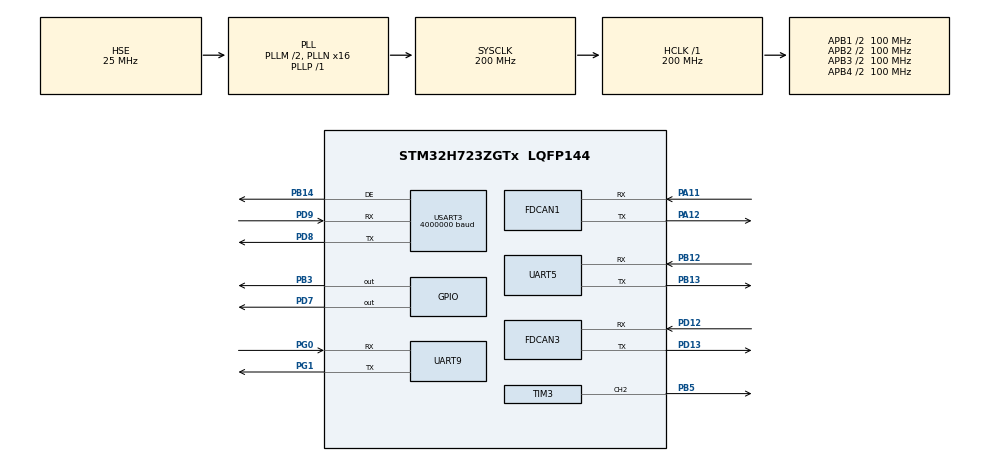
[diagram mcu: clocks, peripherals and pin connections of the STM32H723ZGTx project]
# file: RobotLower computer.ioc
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CORTEX_M7.default_mode_Activation=1
Dma.Request0=USART3_RX
Dma.Request1=USART3_TX
Dma.Request2=UART9_RX
Dma.Request3=UART9_TX
Dma.Request4=UART5_RX
Dma.Request5=UART5_TX
Dma.UART5_RX.4.Direction=DMA_PERIPH_TO_MEMORY
Dma.UART5_RX.4.EventEnable=DISABLE
Dma.UART5_RX.4.FIFOMode=DMA_FIFOMODE_DISABLE
Dma.UART5_RX.4.Instance=DMA1_Stream4
Dma.UART5_RX.4.MemDataAlignment=DMA_MDATAALIGN_BYTE
Dma.UART5_RX.4.MemInc=DMA_MINC_ENABLE
Dma.UART5_RX.4.Mode=DMA_NORMAL
Dma.UART5_RX.4.PeriphDataAlignment=DMA_PDATAALIGN_BYTE
Dma.UART5_RX.4.PeriphInc=DMA_PINC_DISABLE
Dma.UART5_RX.4.Polarity=HAL_DMAMUX_REQ_GEN_RISING
Dma.UART5_RX.4.Priority=DMA_PRIORITY_LOW
Dma.UART5_RX.4.RequestNumber=1
Dma.UART5_RX.4.SignalID=NONE
Dma.UART5_RX.4.SyncEnable=DISABLE
Dma.UART5_RX.4.SyncPolarity=HAL_DMAMUX_SYNC_NO_EVENT
Dma.UART5_RX.4.SyncRequestNumber=1
Dma.UART5_RX.4.SyncSignalID=NONE
Dma.UART5_TX.5.Direction=DMA_MEMORY_TO_PERIPH
Dma.UART5_TX.5.EventEnable=DISABLE
Dma.UART5_TX.5.FIFOMode=DMA_FIFOMODE_DISABLE
Dma.UART5_TX.5.Instance=DMA1_Stream5
Dma.UART5_TX.5.MemDataAlignment=DMA_MDATAALIGN_BYTE
Dma.UART5_TX.5.MemInc=DMA_MINC_ENABLE
Dma.UART5_TX.5.Mode=DMA_NORMAL
Dma.UART5_TX.5.PeriphDataAlignment=DMA_PDATAALIGN_BYTE
Dma.UART5_TX.5.PeriphInc=DMA_PINC_DISABLE
Dma.UART5_TX.5.Polarity=HAL_DMAMUX_REQ_GEN_RISING
Dma.UART5_TX.5.Priority=DMA_PRIORITY_LOW
Dma.UART5_TX.5.RequestNumber=1
Dma.UART5_TX.5.SignalID=NONE
Dma.UART5_TX.5.SyncEnable=DISABLE
Dma.UART5_TX.5.SyncPolarity=HAL_DMAMUX_SYNC_NO_EVENT
Dma.UART5_TX.5.SyncRequestNumber=1
Dma.UART5_TX.5.SyncSignalID=NONE
Dma.UART9_RX.2.Direction=DMA_PERIPH_TO_MEMORY
Dma.UART9_RX.2.EventEnable=DISABLE
Dma.UART9_RX.2.FIFOMode=DMA_FIFOMODE_DISABLE
Dma.UART9_RX.2.Instance=DMA1_Stream2
Dma.UART9_RX.2.MemDataAlignment=DMA_MDATAALIGN_BYTE
Dma.UART9_RX.2.MemInc=DMA_MINC_ENABLE
Dma.UART9_RX.2.Mode=DMA_NORMAL
Dma.UART9_RX.2.PeriphDataAlignment=DMA_PDATAALIGN_BYTE
Dma.UART9_RX.2.PeriphInc=DMA_PINC_DISABLE
Dma.UART9_RX.2.Polarity=HAL_DMAMUX_REQ_GEN_RISING
Dma.UART9_RX.2.Priority=DMA_PRIORITY_LOW
Dma.UART9_RX.2.RequestNumber=1
Dma.UART9_RX.2.SignalID=NONE
Dma.UART9_RX.2.SyncEnable=DISABLE
Dma.UART9_RX.2.SyncPolarity=HAL_DMAMUX_SYNC_NO_EVENT
Dma.UART9_RX.2.SyncRequestNumber=1
Dma.UART9_RX.2.SyncSignalID=NONE
Dma.UART9_TX.3.Direction=DMA_MEMORY_TO_PERIPH
Dma.UART9_TX.3.EventEnable=DISABLE
Dma.UART9_TX.3.FIFOMode=DMA_FIFOMODE_DISABLE
Dma.UART9_TX.3.Instance=DMA1_Stream3
Dma.UART9_TX.3.MemDataAlignment=DMA_MDATAALIGN_BYTE
Dma.UART9_TX.3.MemInc=DMA_MINC_ENABLE
Dma.UART9_TX.3.Mode=DMA_NORMAL
Dma.UART9_TX.3.PeriphDataAlignment=DMA_PDATAALIGN_BYTE
Dma.UART9_TX.3.PeriphInc=DMA_PINC_DISABLE
Dma.UART9_TX.3.Polarity=HAL_DMAMUX_REQ_GEN_RISING
Dma.UART9_TX.3.Priority=DMA_PRIORITY_LOW
Dma.UART9_TX.3.RequestNumber=1
Dma.UART9_TX.3.SignalID=NONE
Dma.UART9_TX.3.SyncEnable=DISABLE
Dma.UART9_TX.3.SyncPolarity=HAL_DMAMUX_SYNC_NO_EVENT
Dma.UART9_TX.3.SyncRequestNumber=1
Dma.UART9_TX.3.SyncSignalID=NONE
Dma.USART3_RX.0.Direction=DMA_PERIPH_TO_MEMORY
Dma.USART3_RX.0.EventEnable=DISABLE
Dma.USART3_RX.0.FIFOMode=DMA_FIFOMODE_DISABLE
Dma.USART3_RX.0.Instance=DMA1_Stream0
Dma.USART3_RX.0.MemDataAlignment=DMA_MDATAALIGN_BYTE
Dma.USART3_RX.0.MemInc=DMA_MINC_ENABLE
Dma.USART3_RX.0.Mode=DMA_NORMAL
Dma.USART3_RX.0.PeriphDataAlignment=DMA_PDATAALIGN_BYTE
Dma.USART3_RX.0.PeriphInc=DMA_PINC_DISABLE
Dma.USART3_RX.0.Polarity=HAL_DMAMUX_REQ_GEN_RISING
Dma.USART3_RX.0.Priority=DMA_PRIORITY_LOW
Dma.USART3_RX.0.RequestNumber=1
Dma.USART3_RX.0.SignalID=NONE
Dma.USART3_RX.0.SyncEnable=DISABLE
Dma.USART3_RX.0.SyncPolarity=HAL_DMAMUX_SYNC_NO_EVENT
Dma.USART3_RX.0.SyncRequestNumber=1
Dma.USART3_RX.0.SyncSignalID=NONE
Dma.USART3_TX.1.Direction=DMA_MEMORY_TO_PERIPH
Dma.USART3_TX.1.EventEnable=DISABLE
Dma.USART3_TX.1.FIFOMode=DMA_FIFOMODE_DISABLE
Dma.USART3_TX.1.Instance=DMA1_Stream1
Dma.USART3_TX.1.MemDataAlignment=DMA_MDATAALIGN_BYTE
Dma.USART3_TX.1.MemInc=DMA_MINC_ENABLE
Dma.USART3_TX.1.Mode=DMA_NORMAL
Dma.USART3_TX.1.PeriphDataAlignment=DMA_PDATAALIGN_BYTE
Dma.USART3_TX.1.PeriphInc=DMA_PINC_DISABLE
Dma.USART3_TX.1.Polarity=HAL_DMAMUX_REQ_GEN_RISING
Dma.USART3_TX.1.Priority=DMA_PRIORITY_LOW
Dma.USART3_TX.1.RequestNumber=1
Dma.USART3_TX.1.SignalID=NONE
Dma.USART3_TX.1.SyncEnable=DISABLE
Dma.USART3_TX.1.SyncPolarity=HAL_DMAMUX_SYNC_NO_EVENT
Dma.USART3_TX.1.SyncRequestNumber=1
Dma.USART3_TX.1.SyncSignalID=NONE
FDCAN1.CalculateBaudRateNominal=1000000
FDCAN1.CalculateTimeBitNominal=1000
FDCAN1.CalculateTimeQuantumNominal=50.0
FDCAN1.DataPrescaler=6
FDCAN1.DataSyncJumpWidth=5
FDCAN1.DataTimeSeg1=14
FDCAN1.DataTimeSeg2=5
FDCAN1.NominalPrescaler=5
FDCAN1.NominalSyncJumpWidth=5
FDCAN1.NominalTimeSeg1=14
FDCAN1.NominalTimeSeg2=5
FDCAN1.RxFifo0ElmtsNbr=3
FDCAN1.RxFifo1ElmtsNbr=3
FDCAN1.StdFiltersNbr=2
FDCAN1.TxFifoQueueElmtsNbr=3
FDCAN3.CalculateBaudRateNominal=500000
FDCAN3.CalculateTimeBitNominal=2000
FDCAN3.CalculateTimeQuantumNominal=100.0
FDCAN3.DataPrescaler=6
FDCAN3.DataSyncJumpWidth=5
FDCAN3.DataTimeSeg1=14
FDCAN3.DataTimeSeg2=5
FDCAN3.ExtFiltersNbr=1
FDCAN3.MessageRAMOffset=40
FDCAN3.NominalPrescaler=10
FDCAN3.NominalSyncJumpWidth=10
FDCAN3.NominalTimeSeg1=14
FDCAN3.NominalTimeSeg2=5
FDCAN3.RxFifo0ElmtsNbr=3
FDCAN3.RxFifo1ElmtsNbr=3
FDCAN3.StdFiltersNbr=2
FDCAN3.TxFifoQueueElmtsNbr=3
FREERTOS.Tasks01=defaultTask,24,128,StartDefaultTask,Default,NULL,Dynamic,NULL,NULL
FREERTOS.configMAX_TASK_NAME_LEN=128
FREERTOS.configTOTAL_HEAP_SIZE=30000
Mcu.Family=STM32H7
Mcu.Name=STM32H723ZGTx
Mcu.Package=LQFP144
NVIC.DMA1_Stream0_IRQn=true\:5\:0\:false\:false\:true\:true\:false\:true\:true
NVIC.DMA1_Stream1_IRQn=true\:5\:0\:false\:false\:true\:true\:false\:true\:true
NVIC.DMA1_Stream2_IRQn=true\:5\:0\:false\:false\:true\:true\:false\:true\:true
NVIC.DMA1_Stream3_IRQn=true\:5\:0\:false\:false\:true\:true\:false\:true\:true
NVIC.DMA1_Stream4_IRQn=true\:5\:0\:false\:false\:true\:true\:false\:true\:true
NVIC.DMA1_Stream5_IRQn=true\:5\:0\:false\:false\:true\:true\:false\:true\:true
NVIC.FDCAN1_IT0_IRQn=true\:5\:0\:false\:false\:true\:true\:true\:true\:true
NVIC.FDCAN1_IT1_IRQn=true\:5\:0\:false\:false\:true\:true\:true\:true\:true
NVIC.FDCAN3_IT0_IRQn=true\:5\:0\:false\:false\:true\:true\:true\:true\:true
NVIC.FDCAN3_IT1_IRQn=true\:5\:0\:false\:false\:true\:true\:true\:true\:true
NVIC.PriorityGroup=NVIC_PRIORITYGROUP_4
NVIC.TIM16_IRQn=true\:15\:0\:false\:false\:true\:false\:false\:true\:true
NVIC.TimeBase=TIM16_IRQn
NVIC.TimeBaseIP=TIM16
NVIC.UART5_IRQn=true\:5\:0\:false\:false\:true\:true\:true\:true\:true
NVIC.UART9_IRQn=true\:5\:0\:false\:false\:true\:true\:true\:true\:true
NVIC.USART3_IRQn=true\:5\:0\:false\:false\:true\:true\:true\:true\:true
PA10.Signal=USART1_RX
PA11.Mode=FDCAN_Activate
PA11.Signal=FDCAN1_RX
PA12.Mode=FDCAN_Activate
PA12.Signal=FDCAN1_TX
PA13(JTMS/SWDIO).Mode=Serial_Wire
PA13(JTMS/SWDIO).Signal=DEBUG_JTMS-SWDIO
PA14(JTCK/SWCLK).Mode=Serial_Wire
PA14(JTCK/SWCLK).Signal=DEBUG_JTCK-SWCLK
PA9.Signal=USART1_TX
PB12.Mode=Asynchronous
PB12.Signal=UART5_RX
PB13.Mode=Asynchronous
PB13.Signal=UART5_TX
PB14.Mode=Hardware Flow Control (RS485)
PB14.Signal=USART3_DE
PB3(JTDO/TRACESWO).Signal=GPIO_Output
PB5.Signal=S_TIM3_CH2
PC10.Signal=UART4_TX
PC11.Signal=UART4_RX
PC14-OSC32_IN.Mode=LSE-External-Oscillator
PC14-OSC32_IN.Signal=RCC_OSC32_IN
PC15-OSC32_OUT.Mode=LSE-External-Oscillator
PC15-OSC32_OUT.Signal=RCC_OSC32_OUT
PD12.Mode=FDCAN_Activate
PD12.Signal=FDCAN3_RX
PD13.Mode=FDCAN_Activate
PD13.Signal=FDCAN3_TX
PD7.Signal=GPIO_Output
PD8.Mode=Asynchronous
PD8.Signal=USART3_TX
PD9.Mode=Asynchronous
PD9.Signal=USART3_RX
PG0.Mode=Asynchronous
PG0.Signal=UART9_RX
PG1.Mode=Asynchronous
PG1.Signal=UART9_TX
PH0-OSC_IN.Mode=HSE-External-Oscillator
PH0-OSC_IN.Signal=RCC_OSC_IN
PH1-OSC_OUT.Mode=HSE-External-Oscillator
PH1-OSC_OUT.Signal=RCC_OSC_OUT
ProjectManager.HeapSize=0x400
ProjectManager.StackSize=0x800
ProjectManager.TargetToolchain=MDK-ARM V5.32
RCC.ADCFreq_Value=50390625
RCC.APB1Freq_Value=100000000
RCC.APB2Freq_Value=100000000
RCC.APB3Freq_Value=100000000
RCC.APB4Freq_Value=100000000
RCC.CortexFreq_Value=200000000
RCC.D1PPRE=RCC_APB3_DIV2
RCC.D2PPRE1=RCC_APB1_DIV2
RCC.D2PPRE2=RCC_APB2_DIV2
RCC.D3PPRE=RCC_APB4_DIV2
RCC.DIVM1=2
RCC.DIVN1=16
RCC.DIVP1=1
RCC.HCLKFreq_Value=200000000
RCC.HSE_VALUE=25000000
RCC.PLLFRACN=0
RCC.PLLSourceVirtual=RCC_PLLSOURCE_HSE
RCC.SYSCLKFreq_VALUE=200000000
RCC.SYSCLKSource=RCC_SYSCLKSOURCE_PLLCLK
RCC.USBFreq_Value=100000000
SH.S_TIM3_CH2.0=TIM3_CH2,PWM Generation2 CH2
TIM3.Channel-PWM\ Generation2\ CH2=TIM_CHANNEL_2
TIM3.Period=20000-1
TIM3.Prescaler=200-1
USART3.BaudRate=4000000
USART3.VirtualMode-Asynchronous=VM_ASYNC
USART3.VirtualMode-Hardware\ Flow\ Control\ (RS485)=VM_ASYNC
VP_FREERTOS_VS_CMSIS_V2.Mode=CMSIS_V2
VP_MEMORYMAP_VS_MEMORYMAP.Mode=CurAppReg
VP_SYS_VS_tim16.Mode=TIM16
board=custom

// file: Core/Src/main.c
/* USER CODE BEGIN Header */
/**
  ******************************************************************************
  * @file           : main.c
  * @brief          : Main program body
  ******************************************************************************
  * @attention
  *
  * Copyright (c) 2026 STMicroelectronics.
  * All rights reserved.
  *
  * This software is licensed under terms that can be found in the LICENSE file
  * in the root directory of this software component.
  * If no LICENSE file comes with this software, it is provided AS-IS.
  *
  ******************************************************************************
  */
/* USER CODE END Header */
#include "main.h"
#include "cmsis_os.h"
#include "dma.h"
#include "fdcan.h"
#include "tim.h"
#include "usart.h"
#include "gpio.h"

void SystemClock_Config(void);
static void MPU_Config(void);
void MX_FREERTOS_Init(void);

int main(void)
{

  /* MPU Configuration--------------------------------------------------------*/
  MPU_Config();

  /* MCU Configuration--------------------------------------------------------*/

  /* Reset of all peripherals, Initializes the Flash interface and the Systick. */
  HAL_Init();

  /* Configure the system clock */
  SystemClock_Config();

  /* Initialize all configured peripherals */
  MX_GPIO_Init();
  MX_DMA_Init();
  MX_FDCAN1_Init();
  MX_FDCAN3_Init();
  MX_USART3_UART_Init();
  MX_UART9_Init();
  MX_UART5_Init();
  MX_TIM3_Init();

  /* Init scheduler */
  osKernelInitialize();  /* Call init function for freertos objects (in cmsis_os2.c) */
  MX_FREERTOS_Init();

  /* Start scheduler */
  osKernelStart();

  /* We should never get here as control is now taken by the scheduler */

  /* Infinite loop */
  while (1)
  {

  }
}

void SystemClock_Config(void)
{
  RCC_OscInitTypeDef RCC_OscInitStruct = {0};
  RCC_ClkInitTypeDef RCC_ClkInitStruct = {0};

  /** Supply configuration update enable
  */
  HAL_PWREx_ConfigSupply(PWR_LDO_SUPPLY);

  /** Configure the main internal regulator output voltage
  */
  __HAL_PWR_VOLTAGESCALING_CONFIG(PWR_REGULATOR_VOLTAGE_SCALE1);

  while(!__HAL_PWR_GET_FLAG(PWR_FLAG_VOSRDY)) {}

  /** Initializes the RCC Oscillators according to the specified parameters
  * in the RCC_OscInitTypeDef structure.
  */
  RCC_OscInitStruct.OscillatorType = RCC_OSCILLATORTYPE_HSE;
  RCC_OscInitStruct.HSEState = RCC_HSE_ON;
  RCC_OscInitStruct.PLL.PLLState = RCC_PLL_ON;
  RCC_OscInitStruct.PLL.PLLSource = RCC_PLLSOURCE_HSE;
  RCC_OscInitStruct.PLL.PLLM = 2;
  RCC_OscInitStruct.PLL.PLLN = 16;
  RCC_OscInitStruct.PLL.PLLP = 1;
  RCC_OscInitStruct.PLL.PLLQ = 2;
  RCC_OscInitStruct.PLL.PLLR = 2;
  RCC_OscInitStruct.PLL.PLLRGE = RCC_PLL1VCIRANGE_3;
  RCC_OscInitStruct.PLL.PLLVCOSEL = RCC_PLL1VCOWIDE;
  RCC_OscInitStruct.PLL.PLLFRACN = 0;
  if (HAL_RCC_OscConfig(&RCC_OscInitStruct) != HAL_OK)
  {
    Error_Handler();
  }

  /** Initializes the CPU, AHB and APB buses clocks
  */
  RCC_ClkInitStruct.ClockType = RCC_CLOCKTYPE_HCLK|RCC_CLOCKTYPE_SYSCLK
                              |RCC_CLOCKTYPE_PCLK1|RCC_CLOCKTYPE_PCLK2
                              |RCC_CLOCKTYPE_D3PCLK1|RCC_CLOCKTYPE_D1PCLK1;
  RCC_ClkInitStruct.SYSCLKSource = RCC_SYSCLKSOURCE_PLLCLK;
  RCC_ClkInitStruct.SYSCLKDivider = RCC_SYSCLK_DIV1;
  RCC_ClkInitStruct.AHBCLKDivider = RCC_HCLK_DIV1;
  RCC_ClkInitStruct.APB3CLKDivider = RCC_APB3_DIV2;
  RCC_ClkInitStruct.APB1CLKDivider = RCC_APB1_DIV2;
  RCC_ClkInitStruct.APB2CLKDivider = RCC_APB2_DIV2;
  RCC_ClkInitStruct.APB4CLKDivider = RCC_APB4_DIV2;

  if (HAL_RCC_ClockConfig(&RCC_ClkInitStruct, FLASH_LATENCY_2) != HAL_OK)
  {
    Error_Handler();
  }
}

 /* MPU Configuration */

void MPU_Config(void)
{
  MPU_Region_InitTypeDef MPU_InitStruct = {0};

  /* Disables the MPU */
  HAL_MPU_Disable();

  /** Initializes and configures the Region and the memory to be protected
  */
  MPU_InitStruct.Enable = MPU_REGION_ENABLE;
  MPU_InitStruct.Number = MPU_REGION_NUMBER0;
  MPU_InitStruct.BaseAddress = 0x0;
  MPU_InitStruct.Size = MPU_REGION_SIZE_4GB;
  MPU_InitStruct.SubRegionDisable = 0x87;
  MPU_InitStruct.TypeExtField = MPU_TEX_LEVEL0;
  MPU_InitStruct.AccessPermission = MPU_REGION_NO_ACCESS;
  MPU_InitStruct.DisableExec = MPU_INSTRUCTION_ACCESS_DISABLE;
  MPU_InitStruct.IsShareable = MPU_ACCESS_SHAREABLE;
  MPU_InitStruct.IsCacheable = MPU_ACCESS_NOT_CACHEABLE;
  MPU_InitStruct.IsBufferable = MPU_ACCESS_NOT_BUFFERABLE;

  HAL_MPU_ConfigRegion(&MPU_InitStruct);
  /* Enables the MPU */
  HAL_MPU_Enable(MPU_PRIVILEGED_DEFAULT);

}

void HAL_TIM_PeriodElapsedCallback(TIM_HandleTypeDef *htim)
{
  if (htim->Instance == TIM16)
  {
    HAL_IncTick();
  }
}

void Error_Handler(void)
{
  __disable_irq();
  while (1)
  {
  }
}

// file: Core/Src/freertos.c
/* USER CODE BEGIN Header */
/**
 ******************************************************************************
 * File Name          : freertos.c
 * Description        : Code for freertos applications
 ******************************************************************************
 * @attention
 *
 * Copyright (c) 2026 STMicroelectronics.
 * All rights reserved.
 *
 * This software is licensed under terms that can be found in the LICENSE file
 * in the root directory of this software component.
 * If no LICENSE file comes with this software, it is provided AS-IS.
 *
 ******************************************************************************
 */
/* USER CODE END Header */

#include "FreeRTOS.h"
#include "task.h"
#include "main.h"
#include "cmsis_os.h"

/* USER CODE BEGIN Includes */
#include "Core.h"
/* USER CODE END Includes */

/* USER CODE BEGIN Variables */
osThreadId_t RobotChassisUpdateTaskHandle;
const osThreadAttr_t RobotChassisUpdateTask_attributes = {
  .name = "RobotChassisUpdateTask",
  .stack_size = 256 * 10,
  .priority = (osPriority_t) osPriorityNormal,
};

osThreadId_t RobotEncoderUpdateTaskHandle;
const osThreadAttr_t RobotEncoderUpdateTask_attributes = {
  .name = "RobotEncoderUpdateTask",
  .stack_size = 256 * 10,
  .priority = (osPriority_t) osPriorityNormal,
};

osThreadId_t RobotStateUpdateTaskHandle;
const osThreadAttr_t RobotStateUpdateTask_attributes = {
    .name = "RobotStateUpdateTask",
    .stack_size = 256 * 10,
    .priority = (osPriority_t)osPriorityNormal,
};

osThreadId_t RobotRoboticArmUpdateTaskHandle;
const osThreadAttr_t RobotRoboticArmUpdateTask_attributes = {
    .name = "RobotRoboticArmUpdateTask",
    .stack_size = 256 * 10,
    .priority = (osPriority_t)osPriorityNormal,
};

osThreadId_t RobotFlipUpdateTaskHandle;
const osThreadAttr_t RobotFlipUpdateTask_attributes = {
    .name = "RobotFlipUpdateTask",
    .stack_size = 256 * 10,
    .priority = (osPriority_t)osPriorityNormal,
};

osThreadId_t RobotPickupUpdateTaskHandle;
const osThreadAttr_t RobotPickupUpdateTask_attributes = {
    .name = "RobotPickupUpdateTask",
    .stack_size = 256 * 10,
    .priority = (osPriority_t)osPriorityNormal,
};
/* USER CODE END Variables */
/* Definitions for defaultTask */
osThreadId_t defaultTaskHandle;
const osThreadAttr_t defaultTask_attributes = {
  .name = "defaultTask",
  .stack_size = 128 * 4,
  .priority = (osPriority_t) osPriorityNormal,
};

void StartDefaultTask(void *argument);

void MX_FREERTOS_Init(void); /* (MISRA C 2004 rule 8.1) */

void MX_FREERTOS_Init(void) {
  /* USER CODE BEGIN Init */
  RobotInit();
  /* USER CODE END Init */

  /* Create the thread(s) */
  /* creation of defaultTask */
  defaultTaskHandle = osThreadNew(StartDefaultTask, NULL, &defaultTask_attributes);

  /* USER CODE BEGIN RTOS_THREADS */
  /* add threads, ... */
  RobotChassisUpdateTaskHandle = osThreadNew(RobotChassisUpdateTask, NULL, &RobotChassisUpdateTask_attributes);
  RobotEncoderUpdateTaskHandle = osThreadNew(RobotEncoderUpdateTask, NULL, &RobotEncoderUpdateTask_attributes);
  RobotStateUpdateTaskHandle = osThreadNew(RobotStateUpdateTask, NULL, &RobotStateUpdateTask_attributes);
  RobotRoboticArmUpdateTaskHandle = osThreadNew(RobotRoboticArmUpdateTask, NULL, &RobotRoboticArmUpdateTask_attributes);
  RobotFlipUpdateTaskHandle = osThreadNew(RobotFlipUpdateTask, NULL, &RobotFlipUpdateTask_attributes);
  RobotPickupUpdateTaskHandle = osThreadNew(RobotPickupUpdateTask, NULL, &RobotPickupUpdateTask_attributes);

  /* USER CODE END RTOS_THREADS */

}

void StartDefaultTask(void *argument)
{
  for (;;)
  {
    osDelay(1);
  }
}
